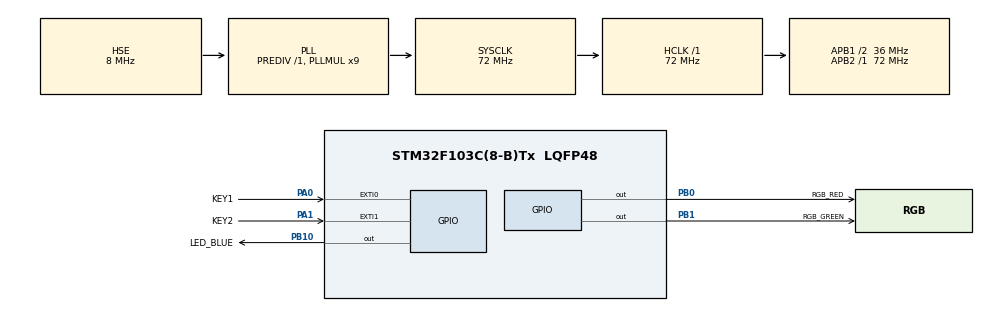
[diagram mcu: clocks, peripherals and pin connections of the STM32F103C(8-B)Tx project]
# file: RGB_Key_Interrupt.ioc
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Mcu.Family=STM32F1
Mcu.Name=STM32F103C(8-B)Tx
Mcu.Package=LQFP48
NVIC.EXTI0_IRQn=true\:0\:0\:false\:false\:true\:true\:true\:true
NVIC.EXTI1_IRQn=true\:0\:0\:false\:false\:true\:true\:true\:true
NVIC.PriorityGroup=NVIC_PRIORITYGROUP_4
PA0-WKUP.GPIO_Label=KEY1
PA0-WKUP.GPIO_ModeDefaultEXTI=GPIO_MODE_IT_RISING
PA0-WKUP.GPIO_PuPd=GPIO_PULLUP
PA0-WKUP.Signal=GPXTI0
PA1.GPIO_Label=KEY2
PA1.GPIO_ModeDefaultEXTI=GPIO_MODE_IT_FALLING
PA1.GPIO_PuPd=GPIO_PULLUP
PA1.Signal=GPXTI1
PA13.Mode=Serial_Wire
PA13.Signal=SYS_JTMS-SWDIO
PA14.Mode=Serial_Wire
PA14.Signal=SYS_JTCK-SWCLK
PB0.GPIO_Label=RGB_RED
PB0.GPIO_Speed=GPIO_SPEED_FREQ_MEDIUM
PB0.Signal=GPIO_Output
PB1.GPIO_Label=RGB_GREEN
PB1.GPIO_Speed=GPIO_SPEED_FREQ_MEDIUM
PB1.Signal=GPIO_Output
PB10.GPIO_Label=LED_BLUE
PB10.GPIO_Speed=GPIO_SPEED_FREQ_MEDIUM
PB10.Signal=GPIO_Output
PD0-OSC_IN.Mode=HSE-External-Oscillator
PD0-OSC_IN.Signal=RCC_OSC_IN
PD1-OSC_OUT.Mode=HSE-External-Oscillator
PD1-OSC_OUT.Signal=RCC_OSC_OUT
ProjectManager.HeapSize=0x200
ProjectManager.StackSize=0x400
ProjectManager.TargetToolchain=CMake
RCC.AHBFreq_Value=72000000
RCC.APB1CLKDivider=RCC_HCLK_DIV2
RCC.APB1Freq_Value=36000000
RCC.APB1TimFreq_Value=72000000
RCC.APB2Freq_Value=72000000
RCC.APB2TimFreq_Value=72000000
RCC.HCLKFreq_Value=72000000
RCC.PLLMUL=RCC_PLL_MUL9
RCC.PLLSourceVirtual=RCC_PLLSOURCE_HSE
RCC.SYSCLKFreq_VALUE=72000000
RCC.SYSCLKSource=RCC_SYSCLKSOURCE_PLLCLK
RCC.USBFreq_Value=72000000
board=custom

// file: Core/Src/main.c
/* USER CODE BEGIN Header */
/**
  ******************************************************************************
  * @file           : main.c
  * @brief          : Main program body
  ******************************************************************************
  * @attention
  *
  * Copyright (c) 2025 STMicroelectronics.
  * All rights reserved.
  *
  * This software is licensed under terms that can be found in the LICENSE file
  * in the root directory of this software component.
  * If no LICENSE file comes with this software, it is provided AS-IS.
  *
  ******************************************************************************
  */
/* USER CODE END Header */
#include "main.h"
#include "gpio.h"
#include "stm32f1xx_hal_gpio.h"

/* USER CODE BEGIN Includes */
#include <stdint.h>
#include <stdio.h>
/* USER CODE END Includes */

/* USER CODE BEGIN PTD */

// 定义RGB灯的颜色
typedef enum {
  RED,
  GREEN,
  BLUE,
  YELLOW,
  CYAN,
  MAGENTA,
  WHITE,
  OFF
} LED_ColorTypeDef;

/* USER CODE END PTD */

/* USER CODE BEGIN PD */

// 定义RGB灯的引脚和端口
#define KEY1_PIN        GPIO_PIN_0
#define KEY1_GPIO_PORT  GPIOA
#define KEY2_PIN        GPIO_PIN_1
#define KEY2_GPIO_PORT  GPIOA

#define LED_R_PIN       GPIO_PIN_0
#define LED_R_GPIO_PORT GPIOB
#define LED_G_PIN       GPIO_PIN_1
#define LED_G_GPIO_PORT GPIOB
#define LED_B_PIN       GPIO_PIN_10
#define LED_B_GPIO_PORT GPIOB

/* USER CODE END PD */

/* USER CODE BEGIN PV */

// 当前LED颜色状态
LED_ColorTypeDef current_color = OFF;

// 按键消抖用计时器
uint32_t key1_debounce_time = 0;
uint32_t key2_debounce_time = 0;
uint32_t debounce_delay = 500; // 500ms消抖时间

/* USER CODE END PV */

void SystemClock_Config(void);
/* USER CODE BEGIN PFP */

void RGB_SetColor(uint8_t red, uint8_t green, uint8_t blue);
void RGB_ToggleColor(void);
void HAL_GPIO_EXTI_Callback(uint16_t GPIO_Pin);

/* USER CODE END PFP */

/* USER CODE BEGIN 0 */

/**
  * @brief  设置RGB灯颜色
  * @param  red: 0 = 熄灭, 1 = 点亮
  * @param  green: 0 = 熄灭, 1 = 点亮
  * @param  blue: 0 = 熄灭, 1 = 点亮
  * @retval None
  */
void RGB_SetColor(uint8_t red, uint8_t green, uint8_t blue) {
  // RGB为共阳极，点亮时引脚拉低
  HAL_GPIO_WritePin(LED_R_GPIO_PORT, LED_R_PIN, red ? GPIO_PIN_RESET : GPIO_PIN_SET);
  HAL_GPIO_WritePin(LED_G_GPIO_PORT, LED_G_PIN, green ? GPIO_PIN_RESET : GPIO_PIN_SET);
  HAL_GPIO_WritePin(LED_B_GPIO_PORT, LED_B_PIN, blue ? GPIO_PIN_RESET : GPIO_PIN_SET);
}

/**
  * @brief  切换到下一个颜色
  * @param  None
  * @retval None
  */
void RGB_ToggleColor(void) {
  current_color = (current_color + 1) % 8; // 循环切换颜色

  switch(current_color) {
    case RED:
      RGB_SetColor(1, 0, 0);
      break;
    case GREEN:
      RGB_SetColor(0, 1, 0);
      break;
    case BLUE:
      RGB_SetColor(0, 0, 1);
      break;
    case YELLOW:
      RGB_SetColor(1, 1, 0);
      break;
    case CYAN:
      RGB_SetColor(0, 1, 1);
      break;
    case MAGENTA:
      RGB_SetColor(1, 0, 1);
      break;
    case WHITE:
      RGB_SetColor(1, 1, 1);
      break;
    case OFF:
      RGB_SetColor(0, 0, 0);
      break;
  }
}

/**
  * @brief  按键中断回调函数
  * @param  GPIO_Pin: 触发中断的引脚
  * @retval None
  */
void HAL_GPIO_EXTI_Callback(uint16_t GPIO_Pin) {
  uint32_t current_time = HAL_GetTick();

  if (GPIO_Pin == KEY1_PIN)  {
    // 按键1消抖处理
    if (current_time - key1_debounce_time > debounce_delay) {
      RGB_ToggleColor(); // 切换颜色
      key1_debounce_time = current_time;
    }
    __HAL_GPIO_EXTI_CLEAR_IT(KEY1_PIN); // 清除中断标志
  } else if (GPIO_Pin == KEY2_PIN) {
    // 按键2消抖处理
    if (current_time - key2_debounce_time > debounce_delay) {
      RGB_ToggleColor(); // 切换颜色
      key2_debounce_time = current_time;
    }
    __HAL_GPIO_EXTI_CLEAR_IT(KEY2_PIN); // 清除中断标志
  }
}

/* USER CODE END 0 */

int main(void)
{

  /* MCU Configuration--------------------------------------------------------*/

  /* Reset of all peripherals, Initializes the Flash interface and the Systick. */
  HAL_Init();

  /* Configure the system clock */
  SystemClock_Config();

  /* Initialize all configured peripherals */
  MX_GPIO_Init();
  /* USER CODE BEGIN 2 */

  // 初始化RGB灯为关闭状态
  RGB_SetColor(0, 0, 0);

  // 初始化为红色
  current_color = RED;
  RGB_SetColor(1, 0, 0);

  // 使能按键中断
  HAL_NVIC_EnableIRQ(EXTI0_IRQn); // KEY1对应EXTI0
  HAL_NVIC_EnableIRQ(EXTI1_IRQn); // KEY2对应EXTI1

  /* USER CODE END 2 */

  /* Infinite loop */
  while (1)
  {

    /* USER CODE BEGIN 3 */

    // 主循环中不需要做任何事情，所有操作都在中断中处理
  }
  /* USER CODE END 3 */
}

void SystemClock_Config(void)
{
  RCC_OscInitTypeDef RCC_OscInitStruct = {0};
  RCC_ClkInitTypeDef RCC_ClkInitStruct = {0};

  /** Initializes the RCC Oscillators according to the specified parameters
  * in the RCC_OscInitTypeDef structure.
  */
  RCC_OscInitStruct.OscillatorType = RCC_OSCILLATORTYPE_HSE;
  RCC_OscInitStruct.HSEState = RCC_HSE_ON;
  RCC_OscInitStruct.HSEPredivValue = RCC_HSE_PREDIV_DIV1;
  RCC_OscInitStruct.HSIState = RCC_HSI_ON;
  RCC_OscInitStruct.PLL.PLLState = RCC_PLL_ON;
  RCC_OscInitStruct.PLL.PLLSource = RCC_PLLSOURCE_HSE;
  RCC_OscInitStruct.PLL.PLLMUL = RCC_PLL_MUL9;
  if (HAL_RCC_OscConfig(&RCC_OscInitStruct) != HAL_OK)
  {
    Error_Handler();
  }

  /** Initializes the CPU, AHB and APB buses clocks
  */
  RCC_ClkInitStruct.ClockType = RCC_CLOCKTYPE_HCLK|RCC_CLOCKTYPE_SYSCLK
                              |RCC_CLOCKTYPE_PCLK1|RCC_CLOCKTYPE_PCLK2;
  RCC_ClkInitStruct.SYSCLKSource = RCC_SYSCLKSOURCE_PLLCLK;
  RCC_ClkInitStruct.AHBCLKDivider = RCC_SYSCLK_DIV1;
  RCC_ClkInitStruct.APB1CLKDivider = RCC_HCLK_DIV2;
  RCC_ClkInitStruct.APB2CLKDivider = RCC_HCLK_DIV1;

  if (HAL_RCC_ClockConfig(&RCC_ClkInitStruct, FLASH_LATENCY_2) != HAL_OK)
  {
    Error_Handler();
  }
}

void Error_Handler(void)
{
  /* USER CODE BEGIN Error_Handler_Debug */
  /* User can add his own implementation to report the HAL error return state */
  __disable_irq();
  while (1)
  {
    // 错误状态下闪烁LED
    RGB_SetColor(1, 0, 0); // 红色
    HAL_Delay(500);
    RGB_SetColor(0, 0, 0); // 关闭
    HAL_Delay(500);
  }
  /* USER CODE END Error_Handler_Debug */
}
